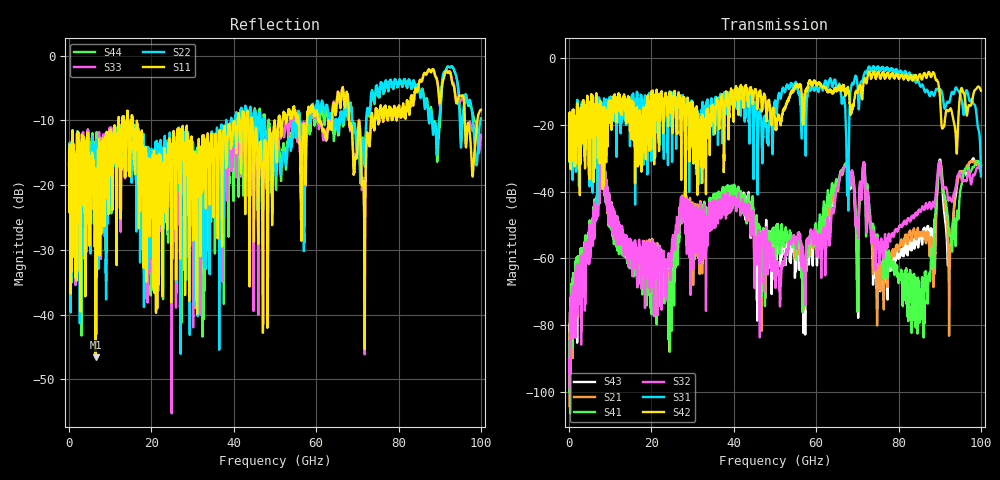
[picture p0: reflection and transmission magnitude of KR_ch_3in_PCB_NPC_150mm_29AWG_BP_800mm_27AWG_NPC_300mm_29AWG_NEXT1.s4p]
# GHz S RI R 45
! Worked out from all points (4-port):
!   4000 points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, 25 MHz to 100 GHz, reference 45 ohm
!   strongest paths, dB at 25 MHz, 25.02 GHz, 50.02 GHz, 75.03 GHz, 100 GHz:
!     S42: -21.3, -17.5, -18.0, -4.3, -9.8
!     S31: -21.2, -31.1, -12.8, -2.5, -35.5
!     S32: -90.1, -54.8, -65.1, -55.4, -34.3
!     S41: -88.7, -64.7, -62.6, -54.3, -31.9
!     S21: -90.2, -60.0, -58.1, -64.1, -32.8
!     S43: -92.2, -59.1, -54.7, -63.9, -32.3
!   lowest |S11| = -46.6 dB at 6.475 GHz (marker M1), VSWR 1.01, Z = 45.1 - j0.418 ohm
!   |S11| at or under -10 dB: start of sweep to 12.07 GHz; 15.43 GHz to 40.98 GHz (25.55 GHz wide, 90.6 % of centre); 44.43 GHz to 49.9 GHz (5.471 GHz wide, 11.6 % of centre) (the widest 3 of 35)
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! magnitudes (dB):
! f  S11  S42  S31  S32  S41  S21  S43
! 25 MHz  -16.7  -21.3  -21.2  -90.1  -88.7  -90.2  -92.2
! 6.475 GHz  -46.6  -17.0  -24.1  -45.6  -45.3  -45.8  -45.1
! 57.12 GHz  -11.9  -14.0  -10.9  -67.5  -68.0  -70.5  -67.9
! 67.3 GHz  -6.4  -10.5  -23.0  -32.0  -31.5  -31.7  -31.7
! 85.8 GHz  -3.6  -6.2  -8.1  -44.4  -68.3  -53.1  -54.9
! 90 GHz  -7.3  -10.7  -9.8  -30.9  -31.4  -31.7  -30.5
! 100 GHz  -8.3  -9.8  -35.5  -34.3  -31.9  -32.8  -32.3
